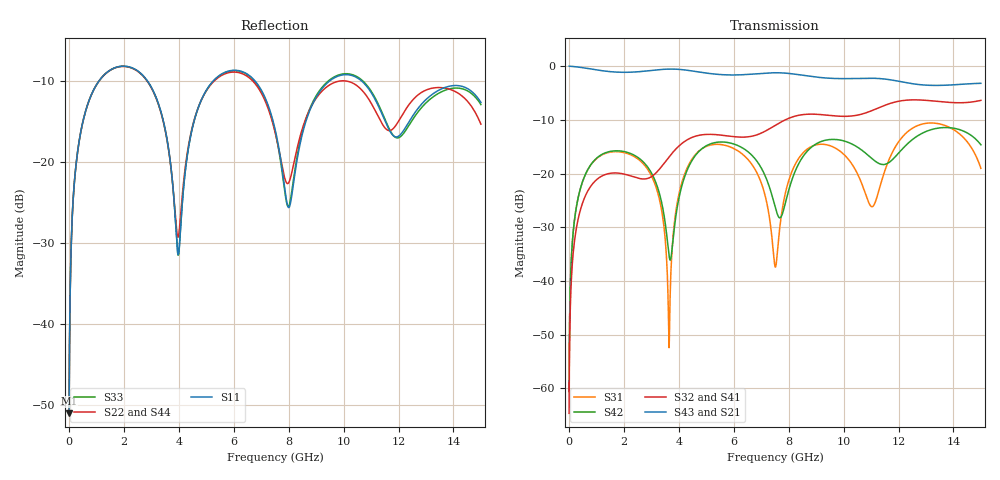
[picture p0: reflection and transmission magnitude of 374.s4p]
! Created with skrf 1.8.0 (http://scikit-rf.org).
# GHz S RI R 50.0
!freq ReS11 ImS11 ReS12 ImS12 ReS13 ImS13
! ReS14 ImS14
! ReS21 ImS21 ReS22 ImS22 ReS23 ImS23
! ReS24 ImS24
! ReS31 ImS31 ReS32 ImS32 ReS33 ImS33
! ReS34 ImS34
! ReS41 ImS41 ReS42 ImS42 ReS43 ImS43
! ReS44 ImS44
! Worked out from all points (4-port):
!   2499 points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, 5 MHz to 15 GHz, reference 50 ohm
!   strongest paths, dB at 5 MHz, 3.476 GHz, 7.19 GHz, 11.1 GHz, 15 GHz:
!     S43: 0.0, -0.6, -1.3, -2.3, -3.2
!     S21: 0.0, -0.6, -1.3, -2.3, -3.2
!     S32: -64.6, -18.0, -12.0, -8.2, -6.4
!     S41: -64.6, -18.0, -12.0, -8.2, -6.4
!     S42: -60.6, -28.2, -21.0, -17.5, -14.7
!     S31: -60.6, -30.8, -25.2, -25.9, -19.0
!   lowest |S11| = -51.0 dB at 5 MHz (marker M1), VSWR 1.01, Z = 50.2 + j0.171 ohm
!   |S11| at or under -10 dB: 2.861 GHz to 5.247 GHz (2.386 GHz wide, 58.9 % of centre); 6.781 GHz to 9.482 GHz (2.702 GHz wide, 33.2 % of centre); 10.66 GHz to end of sweep (the widest 3 of 4)
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0.005  0.00225 0.0017  0.9977 -0.00437  0.000116 0.000923  -0.000113 -0.000575
       0.9977 -0.00437  0.00225 0.0017  -0.000113 -0.000575  0.000116 0.000923
       0.000116 0.000923  -0.000113 -0.000575  0.00225 0.0017  0.9977 -0.00437
       -0.000113 -0.000575  0.000116 0.000923  0.9977 -0.00437  0.00225 0.0017
1.219258  0.2944 0.1642  0.4952 -0.7566  0.1375 0.0595  -0.0952 0.00301
          0.4952 -0.7566  0.2926 0.1656  -0.0953 0.00308  0.1422 0.0522
          0.1375 0.0595  -0.0953 0.00308  0.2943 0.1643  0.4952 -0.7566
          -0.0952 0.00301  0.1422 0.0522  0.4952 -0.7566  0.2926 0.1656
3.639016  0.0532 -0.1044  -0.8782 -0.3269  0.00255 -0.000656  -0.0455 0.1346
          -0.8782 -0.3269  0.0599 -0.0986  -0.0446 0.1349  -0.0148 -0.00947
          0.00255 -0.000656  -0.0446 0.1349  0.053 -0.104  -0.8783 -0.327
          -0.0455 0.1346  -0.0148 -0.00947  -0.8783 -0.327  0.0597 -0.0983
3.940455  0.0265 -0.0136  -0.9292 -0.0943  0.00916 0.0522  -0.0137 0.1733
          -0.9292 -0.0943  0.0342 -0.01  -0.0127 0.1734  -0.00474 0.0479
          0.00916 0.0522  -0.0127 0.1734  0.0264 -0.0133  -0.9292 -0.0944
          -0.0137 0.1733  -0.00474 0.0479  -0.9292 -0.0944  0.0342 -0.00964
7.915798  0.0525 -0.0264  0.8385 0.1814  0.00223 0.0716  0.0624 -0.3131
          0.8385 0.1814  0.0736 -0.0137  0.0582 -0.3139  -0.0177 0.0549
          0.00223 0.0716  0.0582 -0.3139  0.0532 -0.0211  0.8388 0.1809
          0.0624 -0.3131  -0.0177 0.0549  0.8388 0.1809  0.0706 -0.00851
11.91747  0.1416 -0.021  -0.6997 -0.2054  -0.0139 0.1822  -0.1307 0.4458
          -0.6997 -0.2054  0.1674 0.029  -0.1247 0.4484  -0.072 0.1276
          -0.0139 0.1822  -0.1247 0.4484  0.1385 -0.0293  -0.6978 -0.2109
          -0.1307 0.4458  -0.072 0.1276  -0.6978 -0.2109  0.1738 0.0268
15  0.1869 -0.1403  0.2613 0.6383  0.0781 -0.08  0.4265 -0.2155
    0.2613 0.6383  0.1473 -0.0882  0.4218 -0.2284  0.0511 -0.1779
    0.0781 -0.08  0.4218 -0.2284  0.1843 -0.1323  0.2551 0.6421
    0.4265 -0.2155  0.0511 -0.1779  0.2551 0.6421  0.145 -0.0923
